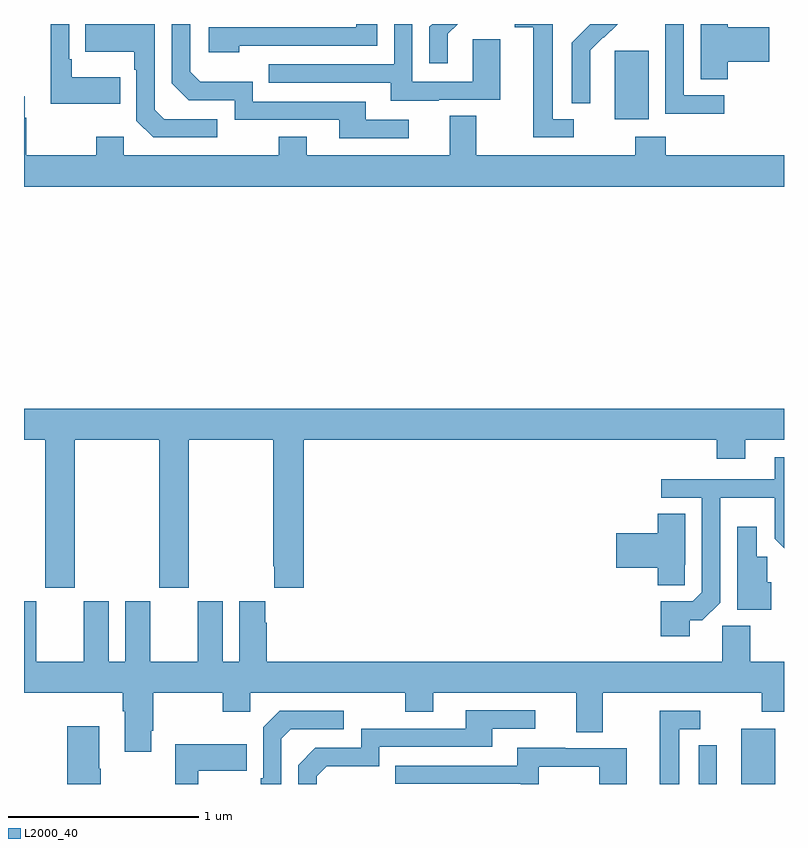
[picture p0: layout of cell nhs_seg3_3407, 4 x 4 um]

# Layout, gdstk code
import gdstk
lib = gdstk.Library(unit=1e-6, precision=1e-09)
def R(c, l, rs):  # rectangles x0, y0, x1, y1
    for r in rs: c.add(gdstk.rectangle(r[:2], r[2:], *l))
def P(c, l, *ps):  # polygons
    for p in ps: c.add(gdstk.Polygon(p, *l))
L2000_40 = (2000, 40)

nhs_seg3_3407 = lib.new_cell('nhs_seg3_3407')
R(nhs_seg3_3407, L2000_40, [(290.774,736.4,290.953,736.69), (290.108,739.898,290.287,740.259)])
P(nhs_seg3_3407, L2000_40, [(290.705,740.201),(290.923,740.201),(290.923,740.384),(290.705,740.384),(290.705,740.4),(290.561,740.4),(290.561,740.11),(290.705,740.11)],
  [(289.183,740.001),(289.507,740.001),(289.507,740.321),(289.362,740.321),(289.362,740.097),(289.044,740.097),(289.044,740.4),(288.948,740.4),(288.948,740.187),(288.289,740.187),(288.289,740.091),(288.929,740.091),(288.929,739.997),(289.183,739.997)],
  [(289.894,739.899),(289.783,739.899),(289.783,740.4),(289.583,740.4),(289.583,740.384),(289.679,740.384),(289.679,739.803),(289.894,739.803)],
  [(289.231,740.349),(289.282,740.4),(289.148,740.4),(289.134,740.386),(289.134,740.193),(289.231,740.193)],
  [(288.134,740.286),(288.858,740.286),(288.858,740.4),(288.749,740.4),(288.749,740.382),(287.973,740.382),(287.973,740.252),(288.134,740.252)],
  [(289.98,740.138),(289.979,740.138),(289.979,740.261),(290.049,740.331),(290.052,740.328),(290.124,740.4),(289.98,740.4),(289.956,740.376),(289.957,740.375),(289.884,740.302),(289.884,739.984),(289.98,739.984)],
  [(289.024,739.896),(288.799,739.896),(288.799,739.992),(288.204,739.992),(288.204,740.095),(287.927,740.095),(287.874,740.148),(287.874,740.4),(287.778,740.4),(287.778,740.088),(287.868,739.998),(288.108,739.998),(288.108,739.896),(288.659,739.896),(288.659,739.8),(289.024,739.8)],
  [(288.016,739.899),(287.739,739.899),(287.688,739.95),(287.688,740.4),(287.323,740.4),(287.323,740.255),(287.58,740.255),(287.58,740.159),(287.592,740.159),(287.592,739.89),(287.679,739.803),(288.016,739.803)],
  [(287.507,740.119),(287.251,740.119),(287.251,740.215),(287.238,740.215),(287.238,740.4),(287.141,740.4),(287.141,739.979),(287.507,739.979)],
  [(290.686,740.025),(290.472,740.025),(290.472,740.4),(290.374,740.4),(290.374,740.356),(290.376,740.356),(290.376,739.927),(290.686,739.927)],
  [(291,739.708),(290.378,739.708),(290.378,739.807),(290.218,739.807),(290.218,739.708),(289.381,739.708),(289.381,739.916),(289.241,739.916),(289.241,739.708),(288.487,739.708),(288.487,739.807),(288.34,739.807),(288.34,739.708),(287.526,739.708),(287.526,739.807),(287.38,739.807),(287.38,739.708),(287.013,739.708),(287.013,739.907),(287.005,739.907),(287.005,740.02),(287,740.02),(287,739.544),(291,739.544)],
  [(287.268,738.212),(287.713,738.212),(287.713,737.433),(287.868,737.433),(287.868,738.212),(288.313,738.212),(288.313,737.545),(288.317,737.545),(288.317,737.433),(288.473,737.433),(288.473,738.212),(290.645,738.212),(290.645,738.113),(290.797,738.113),(290.797,738.212),(291,738.212),(291,738.376),(287,738.376),(287,738.212),(287.113,738.212),(287.113,737.433),(287.268,737.433)],
  [(290.503,737.263),(290.571,737.263),(290.664,737.355),(290.664,737.906),(290.952,737.906),(290.952,737.69),(291,737.642),(291,738.121),(290.951,738.121),(290.951,738.003),(290.355,738.003),(290.355,737.907),(290.568,737.907),(290.568,737.409),(290.52,737.361),(290.351,737.361),(290.351,737.178),(290.503,737.178)],
  [(290.478,737.554),(290.479,737.554),(290.479,737.822),(290.336,737.822),(290.336,737.72),(290.118,737.72),(290.118,737.537),(290.336,737.537),(290.336,737.446),(290.478,737.446)],
  [(290.932,737.463),(290.913,737.463),(290.913,737.595),(290.857,737.595),(290.857,737.755),(290.753,737.755),(290.753,737.318),(290.932,737.318)],
  [(287.671,736.681),(287.679,736.681),(287.679,736.88),(288.046,736.88),(288.046,736.781),(288.192,736.781),(288.192,736.88),(289.006,736.88),(289.006,736.781),(289.153,736.781),(289.153,736.88),(289.907,736.88),(289.907,736.672),(290.047,736.672),(290.047,736.88),(290.884,736.88),(290.884,736.781),(291,736.781),(291,737.044),(290.823,737.044),(290.823,737.233),(290.676,737.233),(290.676,737.044),(288.278,737.044),(288.278,737.249),(288.271,737.249),(288.271,737.362),(288.134,737.362),(288.134,737.044),(288.046,737.044),(288.046,737.362),(287.915,737.362),(287.915,737.044),(287.665,737.044),(287.665,737.362),(287.534,737.362),(287.534,737.044),(287.446,737.044),(287.446,737.362),(287.315,737.362),(287.315,737.044),(287.065,737.044),(287.065,737.362),(287,737.362),(287,736.88),(287.519,736.88),(287.519,736.784),(287.531,736.784),(287.531,736.569),(287.671,736.569)],
  [(288.54,736.44),(288.593,736.493),(288.87,736.493),(288.87,736.596),(289.465,736.596),(289.465,736.692),(289.69,736.692),(289.69,736.788),(289.325,736.788),(289.325,736.692),(288.774,736.692),(288.774,736.59),(288.534,736.59),(288.444,736.5),(288.444,736.4),(288.54,736.4)],
  [(290.449,736.689),(290.56,736.689),(290.56,736.785),(290.345,736.785),(290.345,736.4),(290.449,736.4)],
  [(288.354,736.638),(288.405,736.689),(288.682,736.689),(288.682,736.785),(288.345,736.785),(288.258,736.698),(288.258,736.429),(288.246,736.429),(288.246,736.4),(288.354,736.4)],
  [(287.403,736.481),(287.395,736.481),(287.395,736.705),(287.228,736.705),(287.228,736.4),(287.403,736.4)],
  [(287.917,736.469),(288.173,736.469),(288.173,736.609),(287.796,736.609),(287.796,736.4),(287.917,736.4)],
  [(290.645,736.45),(290.646,736.45),(290.646,736.604),(290.55,736.604),(290.55,736.4),(290.645,736.4)],
  [(289.71,736.491),(290.028,736.491),(290.028,736.4),(290.173,736.4),(290.173,736.587),(289.849,736.587),(289.849,736.591),(289.595,736.591),(289.595,736.497),(288.955,736.497),(288.955,736.401),(289.614,736.401),(289.614,736.4),(289.71,736.4)])

lib.write_gds('nhs_seg3_3407.gds')
